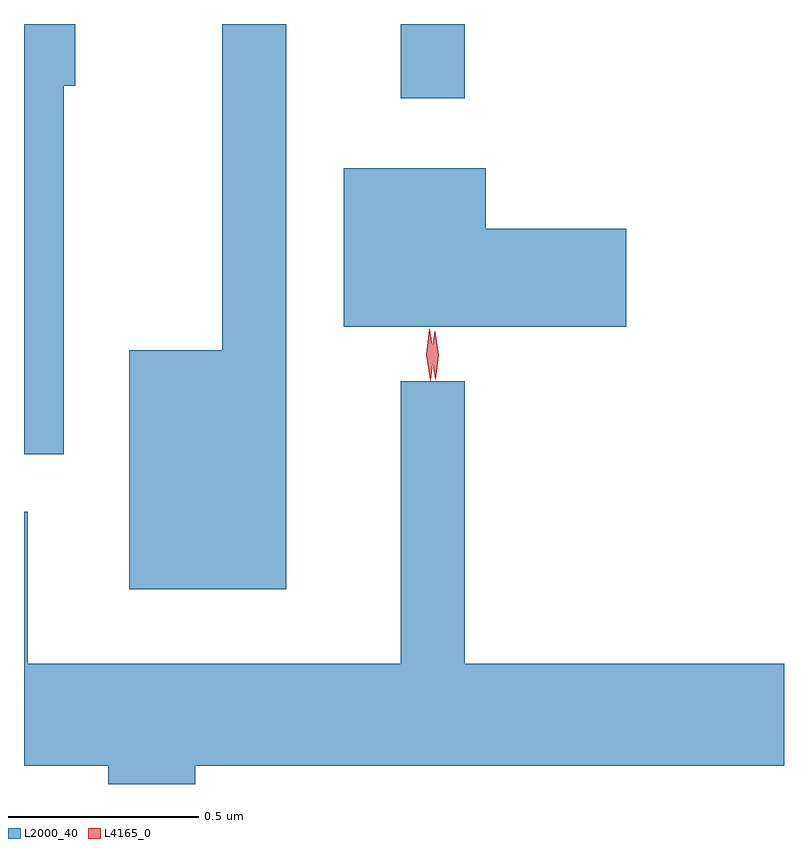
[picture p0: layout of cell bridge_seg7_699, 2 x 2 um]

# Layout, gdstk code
import gdstk
lib = gdstk.Library(unit=1e-6, precision=1e-09)
def R(c, l, rs):  # rectangles x0, y0, x1, y1
    for r in rs: c.add(gdstk.rectangle(r[:2], r[2:], *l))
def P(c, l, *ps):  # polygons
    for p in ps: c.add(gdstk.Polygon(p, *l))
L2000_40 = (2000, 40)
L4165_0 = (4165, 0)

bridge_seg7_699 = lib.new_cell('bridge_seg7_699')
R(bridge_seg7_699, L2000_40, [(966.001,1680.553,966.169,1680.748)])
P(bridge_seg7_699, L2000_40, [(965.699,1680.748),(965.531,1680.748),(965.531,1679.889),(965.286,1679.889),(965.286,1679.261),(965.699,1679.261)],
  [(965.114,1680.586),(965.144,1680.586),(965.144,1680.748),(965.009,1680.748),(965.009,1679.616),(965.114,1679.616)],
  [(966.594,1680.209),(966.224,1680.209),(966.224,1680.369),(965.851,1680.369),(965.851,1679.951),(966.594,1679.951)],
  [(965.459,1678.796),(967.009,1678.796),(967.009,1679.064),(966.169,1679.064),(966.169,1679.808),(966.001,1679.808),(966.001,1679.064),(965.019,1679.064),(965.019,1679.464),(965.009,1679.464),(965.009,1678.796),(965.231,1678.796),(965.231,1678.748),(965.459,1678.748)])
P(bridge_seg7_699, L4165_0, [(966.078,1679.809),(966.078,1679.81),(966.068,1679.877),(966.076,1679.945),(966.077,1679.946),(966.077,1679.945),(966.087,1679.878),(966.079,1679.81)],
  [(966.091,1679.813),(966.091,1679.813),(966.081,1679.876),(966.09,1679.939),(966.091,1679.94),(966.091,1679.939),(966.101,1679.876),(966.092,1679.813)])

lib.write_gds('bridge_seg7_699.gds')
